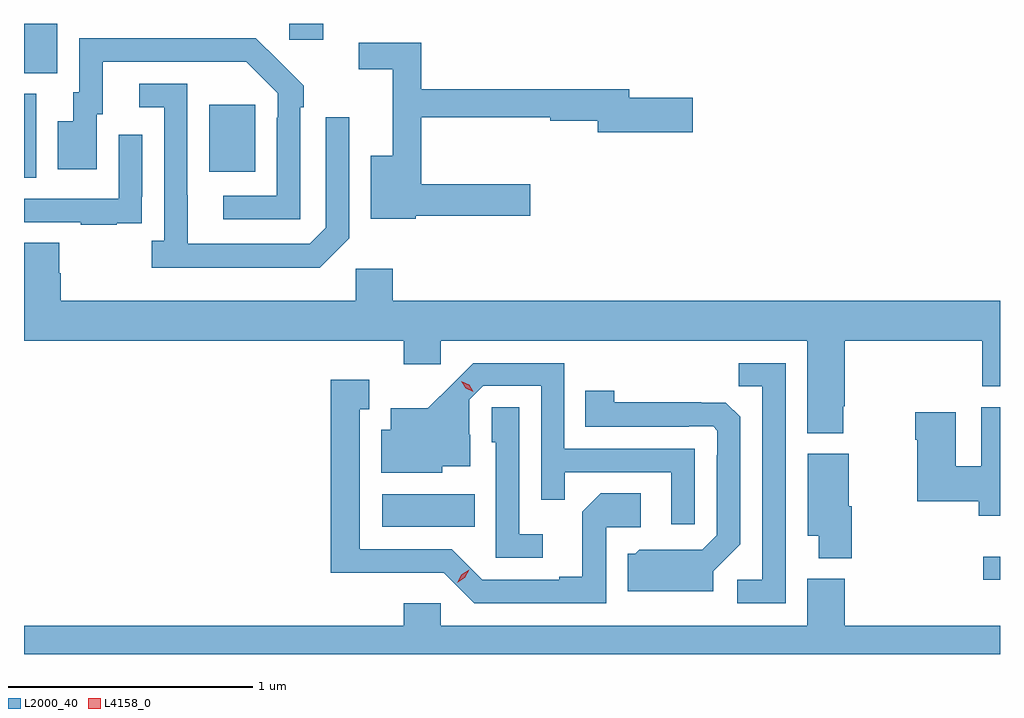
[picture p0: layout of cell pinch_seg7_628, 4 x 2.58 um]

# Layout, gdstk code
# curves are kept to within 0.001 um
import gdstk
lib = gdstk.Library(unit=1e-6, precision=1e-09)
def R(c, l, rs):  # rectangles x0, y0, x1, y1
    for r in rs: c.add(gdstk.rectangle(r[:2], r[2:], *l))
def P(c, l, *ps):  # polygons
    for p in ps: c.add(gdstk.Polygon(p, *l))
L2000_40 = (2000, 40)
L4158_0 = (4158, 0)

pinch_seg7_628 = lib.new_cell('pinch_seg7_628')
R(pinch_seg7_628, L2000_40, [(145.611,998.304,145.68,998.4), (143.148,998.522,143.528,998.656), (141.68,999.952,141.73,1000.296), (142.439,999.977,142.627,1000.252), (141.68,1000.381,141.817,1000.583), (142.767,1000.518,142.906,1000.583)])
P(pinch_seg7_628, L2000_40, [(142.812,1000.241),(142.827,1000.241),(142.827,1000.329),(142.63,1000.524),(141.906,1000.524),(141.906,1000.302),(141.881,1000.302),(141.881,1000.183),(141.818,1000.183),(141.818,999.987),(141.979,999.987),(141.979,1000.212),(142.003,1000.212),(142.003,1000.428),(142.591,1000.428),(142.719,1000.299),(142.719,1000.199),(142.716,1000.199),(142.716,999.879),(142.497,999.879),(142.497,999.783),(142.812,999.783)],
  [(143.286,999.796),(143.755,999.796),(143.755,999.925),(143.309,999.925),(143.309,1000.201),(143.836,1000.201),(143.836,1000.186),(144.032,1000.186),(144.032,1000.139),(144.421,1000.139),(144.421,1000.281),(144.16,1000.281),(144.16,1000.315),(143.309,1000.315),(143.309,1000.506),(143.052,1000.506),(143.052,1000.398),(143.192,1000.398),(143.192,1000.042),(143.102,1000.042),(143.102,999.785),(143.286,999.785)],
  [(143.013,999.705),(143.013,1000.201),(142.917,1000.201),(142.917,999.747),(142.851,999.681),(142.351,999.681),(142.35,1000.338),(142.152,1000.338),(142.152,1000.242),(142.254,1000.242),(142.254,999.694),(142.203,999.694),(142.203,999.584),(142.892,999.584)],
  [(142.061,999.765),(142.163,999.765),(142.163,999.874),(142.164,999.874),(142.164,1000.129),(142.068,1000.129),(142.068,999.867),(141.68,999.867),(141.68,999.771),(141.913,999.771),(141.913,999.759),(142.061,999.759)],
  [(143.192,999.58),(143.04,999.58),(143.04,999.448),(141.83,999.448),(141.83,999.561),(141.825,999.561),(141.825,999.686),(141.68,999.686),(141.68,999.284),(143.237,999.284),(143.237,999.189),(143.388,999.189),(143.388,999.284),(144.89,999.284),(144.89,998.906),(145.038,998.906),(145.038,999.016),(145.043,999.016),(145.043,999.284),(145.607,999.284),(145.607,999.097),(145.68,999.097),(145.68,999.448),(143.192,999.448)],
  [(144.801,999.192),(144.61,999.192),(144.61,999.097),(144.705,999.097),(144.705,998.304),(144.603,998.304),(144.603,998.208),(144.801,998.208)],
  [(144.429,998.841),(143.895,998.841),(143.895,999.192),(143.522,999.192),(143.335,999.007),(143.183,999.007),(143.183,998.92),(143.144,998.92),(143.144,998.744),(143.394,998.744),(143.394,998.771),(143.509,998.771),(143.509,998.9),(143.505,998.9),(143.505,999.042),(143.562,999.099),(143.799,999.099),(143.799,998.632),(143.897,998.632),(143.897,998.745),(144.333,998.745),(144.333,998.532),(144.429,998.532)],
  [(144.066,998.52),(144.208,998.52),(144.208,998.66),(144.043,998.66),(143.967,998.584),(143.967,998.317),(143.873,998.317),(143.873,998.304),(143.559,998.304),(143.433,998.43),(143.056,998.43),(143.056,999.003),(143.095,999.003),(143.095,999.124),(142.938,999.124),(142.938,998.333),(143.4,998.334),(143.526,998.208),(144.066,998.208)],
  [(144.505,998.34),(144.615,998.45),(144.615,998.972),(144.556,999.031),(144.099,999.032),(144.099,999.079),(143.98,999.079),(143.98,998.931),(144.404,998.931),(144.404,998.934),(144.504,998.934),(144.522,998.916),(144.522,998.816),(144.519,998.816),(144.519,998.487),(144.459,998.427),(144.202,998.428),(144.186,998.412),(144.155,998.412),(144.155,998.258),(144.505,998.258)],
  [(145.68,999.012),(145.604,999.012),(145.604,998.769),(145.498,998.769),(145.498,998.992),(145.333,998.992),(145.333,998.879),(145.34,998.879),(145.34,998.627),(145.592,998.627),(145.592,998.568),(145.68,998.568)],
  [(143.806,998.491),(143.709,998.491),(143.709,999.011),(143.598,999.011),(143.598,998.868),(143.613,998.868),(143.613,998.394),(143.806,998.394)],
  [(145.073,998.607),(145.06,998.607),(145.06,998.821),(144.893,998.821),(144.893,998.486),(144.938,998.486),(144.938,998.393),(145.073,998.393)],
  [(145.68,998.116),(145.043,998.116),(145.043,998.308),(144.89,998.308),(144.89,998.116),(143.388,998.116),(143.388,998.209),(143.237,998.209),(143.237,998.116),(141.68,998.116),(141.68,998),(145.68,998)])
P(pinch_seg7_628, L4158_0, [(143.521,999.075),(143.49,999.09),(143.473,999.119),(143.473,999.119),(143.473,999.119),(143.504,999.104),(143.521,999.075),(143.521,999.075)],
  [(143.455,998.293),(143.455,998.293),(143.473,998.326),(143.504,998.345),(143.504,998.345),(143.504,998.345),(143.487,998.312),(143.456,998.293)])

lib.write_gds('pinch_seg7_628.gds')
